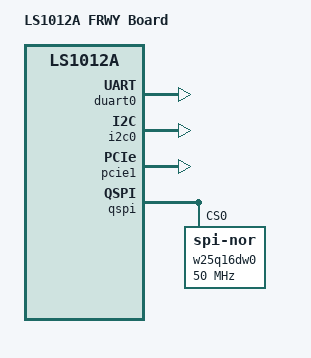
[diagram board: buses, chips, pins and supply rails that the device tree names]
// SPDX-License-Identifier: (GPL-2.0+ OR MIT)
/*
 * Device Tree file for Freescale LS1012A FRWY Board.
 *
 * Copyright 2018 NXP
 *
 * Pramod Kumar <pramod.kumar_1@nxp.com>
 *
 */
/dts-v1/;

#include "fsl-ls1012a.dtsi"

/ {
	model = "LS1012A FRWY Board";
	compatible = "fsl,ls1012a-frwy", "fsl,ls1012a";
};

&duart0 {
	status = "okay";
};

&i2c0 {
	status = "okay";
};

&pcie1 {
	status = "okay";
};

&qspi {
	status = "okay";

	w25q16dw0: flash@0 {
		compatible = "jedec,spi-nor";
		#address-cells = <1>;
		#size-cells = <1>;
		m25p,fast-read;
		spi-max-frequency = <50000000>;
		reg = <0>;
		spi-rx-bus-width = <2>;
		spi-tx-bus-width = <2>;
	};
};
